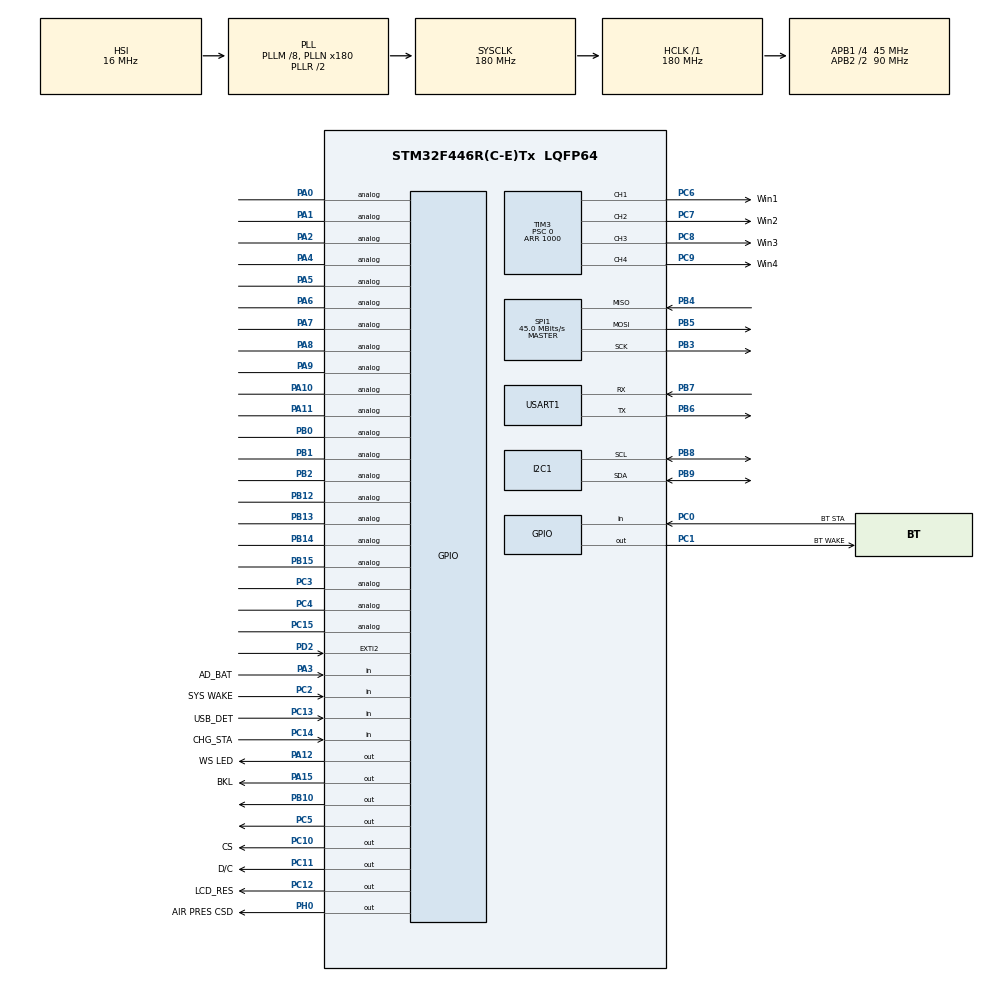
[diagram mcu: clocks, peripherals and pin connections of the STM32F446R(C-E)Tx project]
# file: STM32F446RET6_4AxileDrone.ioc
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FREERTOS.Tasks01=defaultTask,24,256,StartDefaultTask,Default,NULL,Dynamic,NULL,NULL
FREERTOS.configMINIMAL_STACK_SIZE=256
I2C1.DutyCycle=I2C_DUTYCYCLE_16_9
I2C1.I2C_Mode=I2C_Fast
Mcu.Family=STM32F4
Mcu.Name=STM32F446R(C-E)Tx
Mcu.Package=LQFP64
NVIC.PriorityGroup=NVIC_PRIORITYGROUP_4
PA0-WKUP.Signal=GPIO_Analog
PA1.Signal=GPIO_Analog
PA10.Signal=GPIO_Analog
PA11.Signal=GPIO_Analog
PA12.GPIO_Label=WS LED
PA12.GPIO_PuPd=GPIO_PULLUP
PA12.GPIO_Speed=GPIO_SPEED_FREQ_HIGH
PA12.PinState=GPIO_PIN_RESET
PA12.Signal=GPIO_Output
PA13.Mode=Serial_Wire
PA13.Signal=SYS_JTMS-SWDIO
PA14.Mode=Serial_Wire
PA14.Signal=SYS_JTCK-SWCLK
PA15.GPIO_Label=BKL
PA15.Signal=GPIO_Output
PA2.Signal=GPIO_Analog
PA3.GPIO_Label=AD_BAT
PA3.GPIO_PuPd=GPIO_NOPULL
PA3.Signal=GPIO_Input
PA4.Signal=GPIO_Analog
PA5.Signal=GPIO_Analog
PA6.Signal=GPIO_Analog
PA7.Signal=GPIO_Analog
PA8.Signal=GPIO_Analog
PA9.Signal=GPIO_Analog
PB0.Signal=GPIO_Analog
PB1.Signal=GPIO_Analog
PB10.Signal=GPIO_Output
PB12.Signal=GPIO_Analog
PB13.Signal=GPIO_Analog
PB14.Signal=GPIO_Analog
PB15.Signal=GPIO_Analog
PB2.Signal=GPIO_Analog
PB3.Mode=Full_Duplex_Master
PB3.Signal=SPI1_SCK
PB4.Mode=Full_Duplex_Master
PB4.Signal=SPI1_MISO
PB5.Mode=Full_Duplex_Master
PB5.Signal=SPI1_MOSI
PB6.Mode=Asynchronous
PB6.Signal=USART1_TX
PB7.Mode=Asynchronous
PB7.Signal=USART1_RX
PB8.Mode=I2C
PB8.Signal=I2C1_SCL
PB9.Mode=I2C
PB9.Signal=I2C1_SDA
PC0.GPIO_Label=BT STA
PC0.Signal=GPIO_Input
PC1.GPIO_Label=BT WAKE
PC1.Signal=GPIO_Output
PC10.GPIO_Label=CS
PC10.Signal=GPIO_Output
PC11.GPIO_Label=D/C
PC11.Signal=GPIO_Output
PC12.GPIO_Label=LCD_RES
PC12.Signal=GPIO_Output
PC13.GPIO_Label=USB_DET
PC13.GPIO_PuPd=GPIO_NOPULL
PC13.Signal=GPIO_Input
PC14-OSC32_IN.GPIO_Label=CHG_STA
PC14-OSC32_IN.GPIO_PuPd=GPIO_PULLUP
PC14-OSC32_IN.Signal=GPIO_Input
PC15-OSC32_OUT.Signal=GPIO_Analog
PC2.GPIO_Label=SYS WAKE
PC2.Signal=GPIO_Input
PC3.Signal=GPIO_Analog
PC4.Signal=GPIO_Analog
PC5.Signal=GPIO_Output
PC6.GPIO_Label=Win1
PC6.Signal=S_TIM3_CH1
PC7.GPIO_Label=Win2
PC7.Signal=S_TIM3_CH2
PC8.GPIO_Label=Win3
PC8.Signal=S_TIM3_CH3
PC9.GPIO_Label=Win4
PC9.Signal=S_TIM3_CH4
PD2.Signal=GPXTI2
PH0-OSC_IN.GPIO_Label=AIR PRES CSD
PH0-OSC_IN.Signal=GPIO_Output
ProjectManager.HeapSize=0x200
ProjectManager.StackSize=0x400
ProjectManager.TargetToolchain=STM32CubeIDE
RCC.AHBFreq_Value=180000000
RCC.APB1CLKDivider=RCC_HCLK_DIV4
RCC.APB1Freq_Value=45000000
RCC.APB1TimFreq_Value=90000000
RCC.APB2CLKDivider=RCC_HCLK_DIV2
RCC.APB2Freq_Value=90000000
RCC.APB2TimFreq_Value=180000000
RCC.CortexFreq_Value=180000000
RCC.HCLKFreq_Value=180000000
RCC.PLLM=8
RCC.PLLN=180
RCC.SYSCLKFreq_VALUE=180000000
RCC.SYSCLKSource=RCC_SYSCLKSOURCE_PLLRCLK
RCC.USBFreq_Value=180000000
RCC.VCOOutputFreq_Value=360000000
SH.S_TIM3_CH1.0=TIM3_CH1,PWM Generation1 CH1
SH.S_TIM3_CH2.0=TIM3_CH2,PWM Generation2 CH2
SH.S_TIM3_CH3.0=TIM3_CH3,PWM Generation3 CH3
SH.S_TIM3_CH4.0=TIM3_CH4,PWM Generation4 CH4
SPI1.BaudRatePrescaler=SPI_BAUDRATEPRESCALER_2
SPI1.CalculateBaudRate=45.0 MBits/s
SPI1.Direction=SPI_DIRECTION_2LINES
SPI1.Mode=SPI_MODE_MASTER
SPI1.VirtualType=VM_MASTER
TIM14.Channel=TIM_CHANNEL_1
TIM14.Period=65535
TIM3.Channel-PWM\ Generation1\ CH1=TIM_CHANNEL_1
TIM3.Channel-PWM\ Generation2\ CH2=TIM_CHANNEL_2
TIM3.Channel-PWM\ Generation3\ CH3=TIM_CHANNEL_3
TIM3.Channel-PWM\ Generation4\ CH4=TIM_CHANNEL_4
TIM3.Period=1000
TIM3.Prescaler=0
TIM3.Pulse-PWM\ Generation1\ CH1=10
TIM3.Pulse-PWM\ Generation2\ CH2=10
TIM3.Pulse-PWM\ Generation3\ CH3=10
TIM3.Pulse-PWM\ Generation4\ CH4=10
USART1.VirtualMode=VM_ASYNC
VP_FREERTOS_VS_CMSIS_V2.Mode=CMSIS_V2
VP_TIM14_VS_ClockSourceINT.Mode=Enable_Timer
VP_TIM14_VS_no_output1.Mode=Output Compare1 No Output
VP_TIM3_VS_ClockSourceINT.Mode=Internal
VP_TIM3_VS_ClockSourceITR.Mode=TriggerSource_ITR0
board=custom

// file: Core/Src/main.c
/* USER CODE BEGIN Header */
/**
  ******************************************************************************
  * @file           : main.c
  * @brief          : Main program body
  ******************************************************************************
  * @attention
  *
  * Copyright (c) 2025 STMicroelectronics.
  * All rights reserved.
  *
  * This software is licensed under terms that can be found in the LICENSE file
  * in the root directory of this software component.
  * If no LICENSE file comes with this software, it is provided AS-IS.
  *
  ******************************************************************************
  */
/* USER CODE END Header */
#include "main.h"
#include "cmsis_os.h"
#include "i2c.h"
#include "spi.h"
#include "tim.h"
#include "usart.h"
#include "gpio.h"

/* USER CODE BEGIN Includes */
#include "WS2811.h"
#include "mpu6050.h"
//#include "mpu6050.h"
/* USER CODE END Includes */

void SystemClock_Config(void);
void MX_FREERTOS_Init(void);

int main(void)
{

  /* MCU Configuration--------------------------------------------------------*/

  /* Reset of all peripherals, Initializes the Flash interface and the Systick. */
  HAL_Init();

  /* Configure the system clock */
  SystemClock_Config();

  /* Initialize all configured peripherals */
  MX_GPIO_Init();
  MX_SPI1_Init();
  MX_TIM3_Init();
  MX_USART1_UART_Init();
  MX_TIM14_Init();
  MX_I2C1_Init();
  /* USER CODE BEGIN 2 */
  MPU6050_Init(&hi2c1);
  HAL_TIM_PWM_Start(&htim3, TIM_CHANNEL_1);
  HAL_TIM_PWM_Start(&htim3, TIM_CHANNEL_2);
  HAL_TIM_PWM_Start(&htim3, TIM_CHANNEL_3);//Channel1 and 2 was configured as AF_MCO automatically by CUBE, be aware of that
  HAL_TIM_PWM_Start(&htim3, TIM_CHANNEL_4);

  HAL_TIM_Base_Start(&htim14);
  /* USER CODE END 2 */

  /* Init scheduler */
  osKernelInitialize();  /* Call init function for freertos objects (in freertos.c) */
  MX_FREERTOS_Init();

  /* Start scheduler */
  osKernelStart();
  /* We should never get here as control is now taken by the scheduler */
  /* Infinite loop */
  while (1)
  {

  }
}

void SystemClock_Config(void)
{
  RCC_OscInitTypeDef RCC_OscInitStruct = {0};
  RCC_ClkInitTypeDef RCC_ClkInitStruct = {0};

  /** Configure the main internal regulator output voltage
  */
  __HAL_RCC_PWR_CLK_ENABLE();
  __HAL_PWR_VOLTAGESCALING_CONFIG(PWR_REGULATOR_VOLTAGE_SCALE1);

  /** Initializes the RCC Oscillators according to the specified parameters
  * in the RCC_OscInitTypeDef structure.
  */
  RCC_OscInitStruct.OscillatorType = RCC_OSCILLATORTYPE_HSI;
  RCC_OscInitStruct.HSIState = RCC_HSI_ON;
  RCC_OscInitStruct.HSICalibrationValue = RCC_HSICALIBRATION_DEFAULT;
  RCC_OscInitStruct.PLL.PLLState = RCC_PLL_ON;
  RCC_OscInitStruct.PLL.PLLSource = RCC_PLLSOURCE_HSI;
  RCC_OscInitStruct.PLL.PLLM = 8;
  RCC_OscInitStruct.PLL.PLLN = 180;
  RCC_OscInitStruct.PLL.PLLP = RCC_PLLP_DIV2;
  RCC_OscInitStruct.PLL.PLLQ = 2;
  RCC_OscInitStruct.PLL.PLLR = 2;
  if (HAL_RCC_OscConfig(&RCC_OscInitStruct) != HAL_OK)
  {
    Error_Handler();
  }

  /** Activate the Over-Drive mode
  */
  if (HAL_PWREx_EnableOverDrive() != HAL_OK)
  {
    Error_Handler();
  }

  /** Initializes the CPU, AHB and APB buses clocks
  */
  RCC_ClkInitStruct.ClockType = RCC_CLOCKTYPE_HCLK|RCC_CLOCKTYPE_SYSCLK
                              |RCC_CLOCKTYPE_PCLK1|RCC_CLOCKTYPE_PCLK2;
  RCC_ClkInitStruct.SYSCLKSource = RCC_SYSCLKSOURCE_PLLRCLK;
  RCC_ClkInitStruct.AHBCLKDivider = RCC_SYSCLK_DIV1;
  RCC_ClkInitStruct.APB1CLKDivider = RCC_HCLK_DIV4;
  RCC_ClkInitStruct.APB2CLKDivider = RCC_HCLK_DIV2;

  if (HAL_RCC_ClockConfig(&RCC_ClkInitStruct, FLASH_LATENCY_5) != HAL_OK)
  {
    Error_Handler();
  }
}

void Error_Handler(void)
{
  __disable_irq();
  while (1)
  {
  }
}

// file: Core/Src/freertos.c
/* USER CODE BEGIN Header */
/**
  ******************************************************************************
  * File Name          : freertos.c
  * Description        : Code for freertos applications
  ******************************************************************************
  * @attention
  *
  * Copyright (c) 2025 STMicroelectronics.
  * All rights reserved.
  *
  * This software is licensed under terms that can be found in the LICENSE file
  * in the root directory of this software component.
  * If no LICENSE file comes with this software, it is provided AS-IS.
  *
  ******************************************************************************
  */
/* USER CODE END Header */

#include "FreeRTOS.h"
#include "task.h"
#include "main.h"
#include "cmsis_os.h"

/* USER CODE BEGIN Includes */
#include "FreeRTOS_test_funcs.h"
#include "WS2811.h"
/* USER CODE END Includes */

/* USER CODE BEGIN Variables */
static TaskHandle_t xWin_Task_Handel;
static StackType_t g_pucStackOfWinTask[128];
static StaticTask_t g_TCBofWinTask;

static StackType_t g_pucStackOfLEDTask[128];
static StaticTask_t g_TCBofLEDTask;
static TaskHandle_t xLED_Task_Handel;

osThreadId_t ws2812TaskHandle;
const osThreadAttr_t ws2812_attributes = {
  .name = "ws2812task",
  .stack_size = 256 * 4,
  .priority = (osPriority_t) osPriorityNormal,
};

/* USER CODE END Variables */
/* Definitions for defaultTask */
osThreadId_t defaultTaskHandle;
const osThreadAttr_t defaultTask_attributes = {
  .name = "defaultTask",
  .stack_size = 256 * 4,
  .priority = (osPriority_t) osPriorityNormal,
};

/* USER CODE BEGIN FunctionPrototypes */
void WS2812_Test(void);
/* USER CODE END FunctionPrototypes */

void StartDefaultTask(void *argument);

void MX_FREERTOS_Init(void); /* (MISRA C 2004 rule 8.1) */

void MX_FREERTOS_Init(void) {

  /* Create the thread(s) */
  /* creation of defaultTask */
  defaultTaskHandle = osThreadNew(StartDefaultTask, NULL, &defaultTask_attributes);

  /* USER CODE BEGIN RTOS_THREADS */
  /* add threads, ... */
//  ws2812TaskHandle = osThreadNew(WS2812_Test, NULL, &ws2812_attributes);
  /*My_Drone LED control*/
//  ret = xTaskCreate(LED_Test, "LED_Blink",128,NULL,osPriorityNormal,&xLED_Task_Handel);
  /*My_Drone BT module reading*/

  /*My_Drone WS2812 control*/
    xLED_Task_Handel = xTaskCreateStatic(WS2812_LEDStateUpdate, "LEDTask",128,NULL, osPriorityNormal, g_pucStackOfLEDTask, &g_TCBofLEDTask);
  /*My_Drone Win1 control*/
//  xWin_Task_Handel = xTaskCreateStatic(Win4_Test, "WinTask",128,NULL, osPriorityHigh, g_pucStackOfWinTask, &g_TCBofWinTask);

  /*My_Drone Win2 control*/

  /* USER CODE END RTOS_THREADS */

}

void StartDefaultTask(void *argument)
{
  /* USER CODE BEGIN StartDefaultTask */
  /* Infinite loop */
  for(;;)
  {
	  vTaskDelay(3000);
  }

  /* USER CODE END StartDefaultTask */
}
